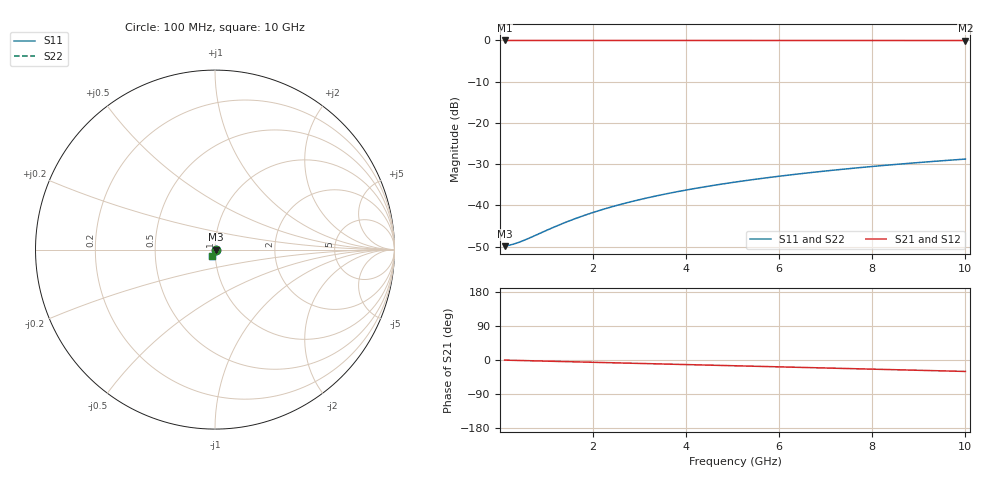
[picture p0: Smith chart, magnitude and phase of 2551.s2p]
# Hz S RI R 50.00
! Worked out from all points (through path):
!   100 points, 100 MHz to 10 GHz, reference 50 ohm
!   highest |S21| = -0.03 dB at 100 MHz (marker M1); lowest = 0.0 dB at 10 GHz (marker M2)
!   group delay of S21, straight-line fit = 8.39 ps
!   lowest |S11| = -49.9 dB at 100 MHz (marker M3), VSWR 1.01, Z = 50.3 - j0.0397 ohm
!   |S11| at or under -10 dB: start of sweep to end of sweep
!   |S22| runs from -49.9 to -28.8 dB; largest |S21 - S12| = 0
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1e8  0.00319 -0.000394  0.9968 -0.00524  0.9968 -0.00524  0.00319 -0.000394
2e8  0.0032 -0.000788  0.9967 -0.0105  0.9967 -0.0105  0.0032 -0.000788
3e8  0.00321 -0.00118  0.9966 -0.0157  0.9966 -0.0157  0.00321 -0.00118
5e8  0.00319 -0.00197  0.9964 -0.0262  0.9964 -0.0262  0.00319 -0.00197
1.1e9  0.00303 -0.00433  0.995 -0.0576  0.995 -0.0576  0.00303 -0.00433
1.3e9  0.00294 -0.00512  0.9943 -0.0681  0.9943 -0.0681  0.00294 -0.00512
1.5e9  0.00283 -0.0059  0.9935 -0.0786  0.9935 -0.0786  0.00283 -0.0059
1.8e9  0.00264 -0.00707  0.9921 -0.0942  0.9921 -0.0942  0.00264 -0.00707
2.1e9  0.00241 -0.00823  0.9905 -0.1099  0.9905 -0.1099  0.00241 -0.00823
2.5e9  0.00204 -0.00977  0.9879 -0.1307  0.9879 -0.1307  0.00204 -0.00977
2.9e9  0.00161 -0.0113  0.9849 -0.1515  0.9849 -0.1515  0.00161 -0.0113
3.4e9  0.000984 -0.0132  0.9805 -0.1773  0.9805 -0.1773  0.000984 -0.0132
3.8e9  0.000413 -0.0146  0.9765 -0.1979  0.9765 -0.1979  0.000413 -0.0146
4.2e9  -0.000221 -0.0161  0.9721 -0.2184  0.9721 -0.2184  -0.000221 -0.0161
4.6e9  -0.000914 -0.0175  0.9672 -0.2388  0.9672 -0.2388  -0.000914 -0.0175
5.1e9  -0.00186 -0.0193  0.9605 -0.2642  0.9605 -0.2642  -0.00186 -0.0193
5.9e9  -0.00357 -0.022  0.9484 -0.3044  0.9484 -0.3044  -0.00357 -0.022
6.7e9  -0.00549 -0.0245  0.9346 -0.3441  0.9346 -0.3441  -0.00549 -0.0245
7.5e9  -0.00762 -0.0269  0.9191 -0.3832  0.9191 -0.3832  -0.00762 -0.0269
8.4e9  -0.0102 -0.0293  0.8998 -0.4263  0.8998 -0.4263  -0.0102 -0.0293
9.2e9  -0.0128 -0.0313  0.8808 -0.4639  0.8808 -0.4639  -0.0128 -0.0313
1e10  -0.0154 -0.033  0.8603 -0.5006  0.8603 -0.5006  -0.0154 -0.033
